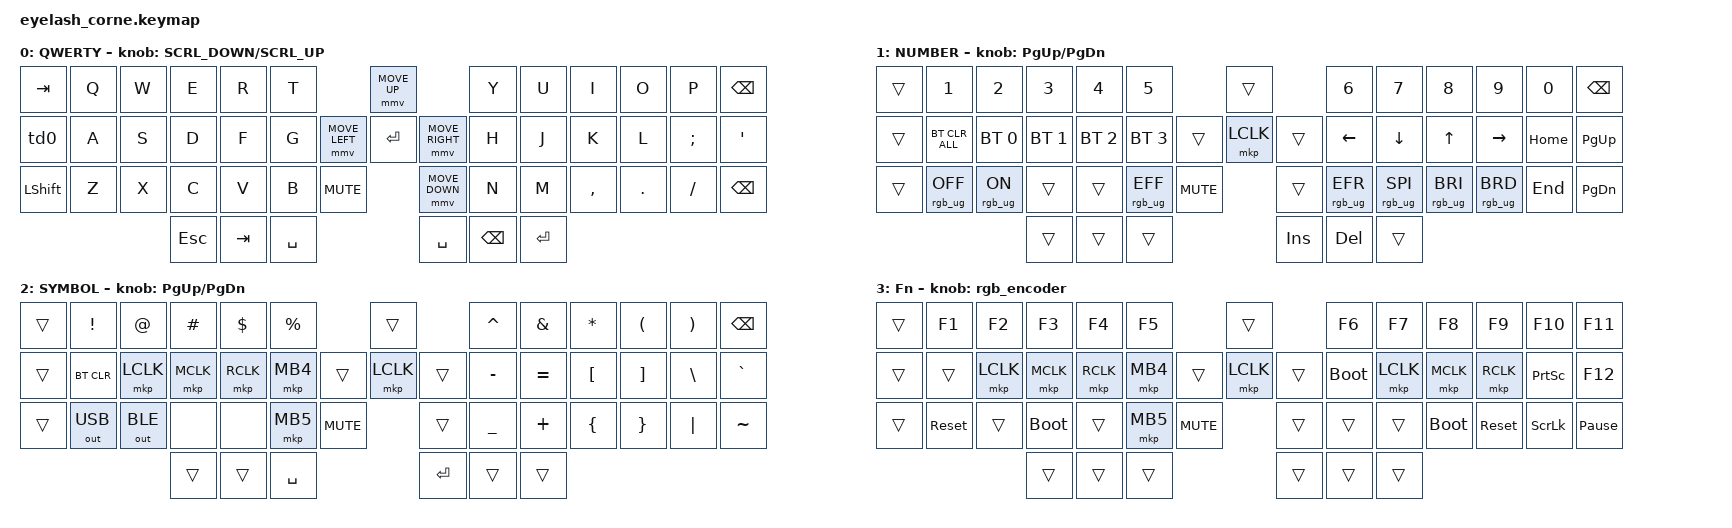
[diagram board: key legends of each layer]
#define ZMK_MOUSE_DEFAULT_SCRL_VAL 20

#include <behaviors.dtsi>
#include <dt-bindings/zmk/bt.h>
#include <dt-bindings/zmk/keys.h>
#include <dt-bindings/zmk/mouse.h>
#include <dt-bindings/zmk/outputs.h>
#include <dt-bindings/zmk/rgb.h>

/ {
    behaviors {
        td0: td0 {
            compatible = "zmk,behavior-tap-dance";
            #binding-cells = <0>;
            bindings = <&kp LEFT_SHIFT>, <&kp CAPS>;
        };
    };

    rgb_encoder: rgb_encoder {
        compatible = "zmk,behavior-sensor-rotate";
        #sensor-binding-cells = <0>;
        bindings = <&rgb_ug RGB_BRI>, <&rgb_ug RGB_BRD>;
    };

    keymap {
        compatible = "zmk,keymap";

        default_layer {
            display-name = "QWERTY";

            bindings = <
&kp TAB         &kp Q  &kp W      &kp E     &kp R  &kp T                            &mmv MOVE_UP                  &kp Y        &kp U  &kp I      &kp O    &kp P     &kp BSPC
&td0            &kp A  &kp S      &kp D     &kp F  &kp G              &mmv MOVE_LEFT  &kp ENTER  &mmv MOVE_RIGHT  &kp H        &kp J  &kp K      &kp L    &kp SEMI  &kp SQT
&kp LEFT_SHIFT  &kp Z  &kp X      &kp C     &kp V  &kp B       &kp C_MUTE          &mmv MOVE_DOWN                 &kp N        &kp M  &kp COMMA  &kp DOT  &kp FSLH  &kp BSPC
                             &kp ESC &kp TAB  &kp SPACE                                              &kp SPACE &kp BSPC  &kp ENTER
            >;

            sensor-bindings = <&inc_dec_kp SCRL_DOWN SCRL_UP>;
        };

        lower_layer {
            display-name = "NUMBER";
            bindings = <
&trans  &kp N1           &kp N2          &kp N3        &kp N4        &kp N5                                &trans            &kp N6           &kp N7           &kp N8           &kp N9           &kp N0    &kp BSPC
&trans  &bt BT_CLR_ALL   &bt BT_SEL 0    &bt BT_SEL 1  &bt BT_SEL 2  &bt BT_SEL 3                  &trans  &mkp LCLK  &trans &kp LEFT         &kp DOWN         &kp UP           &kp RIGHT        &kp HOME  &kp PG_UP
&trans  &rgb_ug RGB_OFF  &rgb_ug RGB_ON  &trans        &trans        &rgb_ug RGB_EFF &kp C_MUTE            &trans            &rgb_ug RGB_EFR  &rgb_ug RGB_SPI  &rgb_ug RGB_BRI  &rgb_ug RGB_BRD  &kp END   &kp PG_DN
                                         &trans        &trans        &trans                                                  &kp INS          &kp DEL          &trans
            >;

            sensor-bindings = <&inc_dec_kp PG_UP PG_DN>;
        };

        raise_layer {
            display-name = "SYMBOL";
            bindings = <
&trans  &kp EXCL      &kp AT        &kp HASH   &kp DLLR   &kp PRCNT                       &trans            &kp CARET  &kp AMPS   &kp ASTRK  &kp LPAR  &kp RPAR  &kp BSPC
&trans  &bt BT_CLR    &mkp LCLK     &mkp MCLK  &mkp RCLK  &mkp MB4                &trans  &mkp LCLK  &trans &kp MINUS  &kp EQUAL  &kp LBKT   &kp RBKT  &kp BSLH  &kp GRAVE
&trans  &out OUT_USB  &out OUT_BLE  &none      &none      &mkp MB5  &kp C_MUTE            &trans            &kp UNDER  &kp PLUS   &kp LBRC   &kp RBRC  &kp PIPE  &kp TILDE
                                    &trans     &trans     &kp SPACE                                         &kp RET    &trans     &trans
            >;

            sensor-bindings = <&inc_dec_kp PG_UP PG_DN>;
        };

        layer_3 {
            display-name = "Fn";
            bindings = <
&trans  &kp F1      &kp F2      &kp F3       &kp F4     &kp F5                         &trans            &kp F6       &kp F7     &kp F8       &kp F9      &kp F10          &kp F11
&trans  &trans      &mkp LCLK   &mkp MCLK    &mkp RCLK  &mkp MB4               &trans  &mkp LCLK  &trans &bootloader  &mkp LCLK  &mkp MCLK    &mkp RCLK   &kp PRINTSCREEN  &kp F12
&trans  &sys_reset  &trans      &bootloader  &trans     &mkp MB5 &kp C_MUTE            &trans            &trans       &trans     &bootloader  &sys_reset  &kp SCROLLLOCK   &kp PAUSE_BREAK
                                &trans      &trans      &trans                                           &trans       &trans     &trans
            >;

            sensor-bindings = <&rgb_encoder>;
        };
    };
};
